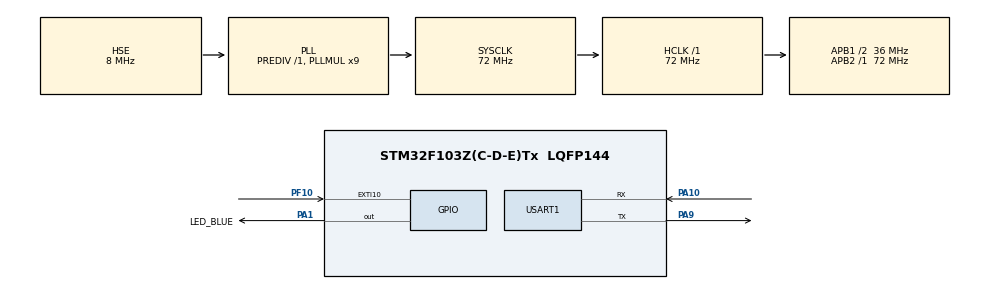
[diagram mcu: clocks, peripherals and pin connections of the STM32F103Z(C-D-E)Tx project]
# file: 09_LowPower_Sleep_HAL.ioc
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Mcu.Family=STM32F1
Mcu.Name=STM32F103Z(C-D-E)Tx
Mcu.Package=LQFP144
NVIC.EXTI15_10_IRQn=true\:0\:0\:false\:false\:true\:true\:true\:true
NVIC.PriorityGroup=NVIC_PRIORITYGROUP_4
NVIC.USART1_IRQn=true\:0\:0\:false\:false\:true\:true\:true\:true
OSC_IN.Mode=HSE-External-Oscillator
OSC_IN.Signal=RCC_OSC_IN
OSC_OUT.Mode=HSE-External-Oscillator
OSC_OUT.Signal=RCC_OSC_OUT
PA1.GPIO_Label=LED_BLUE
PA1.PinState=GPIO_PIN_SET
PA1.Signal=GPIO_Output
PA10.Mode=Asynchronous
PA10.Signal=USART1_RX
PA13.Mode=Serial_Wire
PA13.Signal=SYS_JTMS-SWDIO
PA14.Mode=Serial_Wire
PA14.Signal=SYS_JTCK-SWCLK
PA9.Mode=Asynchronous
PA9.Signal=USART1_TX
PC14-OSC32_IN.Mode=LSE-External-Oscillator
PC14-OSC32_IN.Signal=RCC_OSC32_IN
PC15-OSC32_OUT.Mode=LSE-External-Oscillator
PC15-OSC32_OUT.Signal=RCC_OSC32_OUT
PF10.GPIO_ModeDefaultEXTI=GPIO_MODE_IT_RISING
PF10.GPIO_PuPd=GPIO_PULLDOWN
PF10.Signal=GPXTI10
ProjectManager.HeapSize=0x200
ProjectManager.StackSize=0x400
ProjectManager.TargetToolchain=MDK-ARM V5.32
RCC.AHBFreq_Value=72000000
RCC.APB1CLKDivider=RCC_HCLK_DIV2
RCC.APB1Freq_Value=36000000
RCC.APB1TimFreq_Value=72000000
RCC.APB2Freq_Value=72000000
RCC.APB2TimFreq_Value=72000000
RCC.HCLKFreq_Value=72000000
RCC.PLLMUL=RCC_PLL_MUL9
RCC.PLLSourceVirtual=RCC_PLLSOURCE_HSE
RCC.RTCClockSelection=RCC_RTCCLKSOURCE_LSE
RCC.SYSCLKFreq_VALUE=72000000
RCC.SYSCLKSource=RCC_SYSCLKSOURCE_PLLCLK
RCC.USBFreq_Value=72000000
RTC.Format=RTC_FORMAT_BIN
USART1.VirtualMode=VM_ASYNC
VP_RTC_VS_RTC_Activate.Mode=RTC_Enabled
board=custom

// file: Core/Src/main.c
/* USER CODE BEGIN Header */
/**
 ******************************************************************************
 * @file           : main.c
 * @brief          : Main program body
 ******************************************************************************
 * @attention
 *
 * Copyright (c) 2024 STMicroelectronics.
 * All rights reserved.
 *
 * This software is licensed under terms that can be found in the LICENSE file
 * in the root directory of this software component.
 * If no LICENSE file comes with this software, it is provided AS-IS.
 *
 ******************************************************************************
 */
/* USER CODE END Header */
#include "main.h"
#include "rtc.h"
#include "usart.h"
#include "gpio.h"

void SystemClock_Config(void);

/* USER CODE BEGIN 0 */
void enter_standby(void)
{
    /* 使能唤醒引脚 */
    HAL_PWR_EnableWakeUpPin(PWR_WAKEUP_PIN1);

    HAL_PWR_EnterSTANDBYMode(); /* 进入待机模式 */
}

void standby_detect(void)
{

    if(__HAL_PWR_GET_FLAG(PWR_CSR_SBF))
    {
        printf("从待机被唤醒....\r\n");
        /* 清除待机标志位 */
        __HAL_PWR_CLEAR_FLAG(PWR_CSR_SBF);
    }
    else
    {
        printf("正常启动....\r\n");
    }
}

void standby_wakeup_detect(void)
{
    if(__HAL_PWR_GET_FLAG(PWR_CSR_WUF))
    {
        printf("用唤醒引脚 唤醒....\r\n");

        __HAL_PWR_CLEAR_FLAG(PWR_CSR_WUF);
    }
    else
    {
        printf("使用用复位按键唤醒....\r\n");
    }
}
/* USER CODE END 0 */

int main(void)
{

  /* MCU Configuration--------------------------------------------------------*/

  /* Reset of all peripherals, Initializes the Flash interface and the Systick. */
  HAL_Init();

  /* Configure the system clock */
  SystemClock_Config();

  /* Initialize all configured peripherals */
  MX_GPIO_Init();
  MX_USART1_UART_Init();
  MX_RTC_Init();

  /* Infinite loop */
  /* USER CODE BEGIN WHILE */

    HAL_GPIO_WritePin(LED_BLUE_GPIO_Port, LED_BLUE_Pin, GPIO_PIN_RESET);

    RCC->APB1ENR |= RCC_APB1ENR_PWREN;

    standby_detect();
    standby_wakeup_detect();

    while(1)
    {
        printf("3s后进入standby 模式\r\n");
        HAL_Delay(3000);
        printf("立即进入 standby 模式\r\n");
        set_alarm(70);

        HAL_Delay(10);
        enter_standby();

        printf("从待机被被唤醒\r\n");
    /* USER CODE END WHILE */

    }
}

void SystemClock_Config(void)
{
  RCC_OscInitTypeDef RCC_OscInitStruct = {0};
  RCC_ClkInitTypeDef RCC_ClkInitStruct = {0};
  RCC_PeriphCLKInitTypeDef PeriphClkInit = {0};

  /** Initializes the RCC Oscillators according to the specified parameters
  * in the RCC_OscInitTypeDef structure.
  */
  RCC_OscInitStruct.OscillatorType = RCC_OSCILLATORTYPE_HSE|RCC_OSCILLATORTYPE_LSE;
  RCC_OscInitStruct.HSEState = RCC_HSE_ON;
  RCC_OscInitStruct.HSEPredivValue = RCC_HSE_PREDIV_DIV1;
  RCC_OscInitStruct.LSEState = RCC_LSE_ON;
  RCC_OscInitStruct.HSIState = RCC_HSI_ON;
  RCC_OscInitStruct.PLL.PLLState = RCC_PLL_ON;
  RCC_OscInitStruct.PLL.PLLSource = RCC_PLLSOURCE_HSE;
  RCC_OscInitStruct.PLL.PLLMUL = RCC_PLL_MUL9;
  if (HAL_RCC_OscConfig(&RCC_OscInitStruct) != HAL_OK)
  {
    Error_Handler();
  }

  /** Initializes the CPU, AHB and APB buses clocks
  */
  RCC_ClkInitStruct.ClockType = RCC_CLOCKTYPE_HCLK|RCC_CLOCKTYPE_SYSCLK
                              |RCC_CLOCKTYPE_PCLK1|RCC_CLOCKTYPE_PCLK2;
  RCC_ClkInitStruct.SYSCLKSource = RCC_SYSCLKSOURCE_PLLCLK;
  RCC_ClkInitStruct.AHBCLKDivider = RCC_SYSCLK_DIV1;
  RCC_ClkInitStruct.APB1CLKDivider = RCC_HCLK_DIV2;
  RCC_ClkInitStruct.APB2CLKDivider = RCC_HCLK_DIV1;

  if (HAL_RCC_ClockConfig(&RCC_ClkInitStruct, FLASH_LATENCY_2) != HAL_OK)
  {
    Error_Handler();
  }
  PeriphClkInit.PeriphClockSelection = RCC_PERIPHCLK_RTC;
  PeriphClkInit.RTCClockSelection = RCC_RTCCLKSOURCE_LSE;
  if (HAL_RCCEx_PeriphCLKConfig(&PeriphClkInit) != HAL_OK)
  {
    Error_Handler();
  }
}

void Error_Handler(void)
{
    __disable_irq();
    while(1)
    {
    }
}
